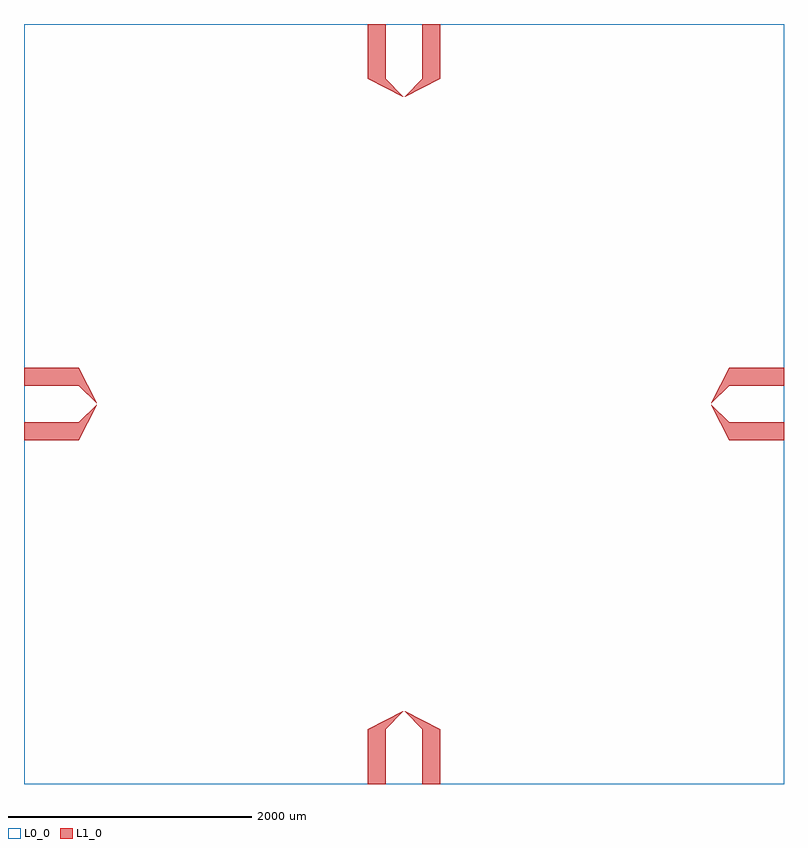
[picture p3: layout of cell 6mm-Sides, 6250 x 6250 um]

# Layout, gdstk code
from math import pi, radians
import gdstk
lib = gdstk.Library(unit=1e-6, precision=1e-09)
def R(c, l, rs):  # rectangles x0, y0, x1, y1
    for r in rs: c.add(gdstk.rectangle(r[:2], r[2:], *l))
def P(c, l, *ps):  # polygons
    for p in ps: c.add(gdstk.Polygon(p, *l))
L0_0 = (0, 0)
L1_0 = (1, 0)

flushlauncher = lib.new_cell('FlushLauncher')
P(flushlauncher, L1_0, [(-300,-300),(-300,150),(-11,300),(-5,300),(-150,150),(-150,-300)],
  [(150,-300),(150,150),(5,300),(11,300),(300,150),(300,-300)])

c_6mm_sides = lib.new_cell('6mm-Sides')
R(c_6mm_sides, L0_0, [(-3125,-3125,3125,3125)])
c_6mm_sides.add(gdstk.Reference(flushlauncher, (0,-2825)))
c_6mm_sides.add(gdstk.Reference(flushlauncher, (2825,0), rotation=pi/2))
c_6mm_sides.add(gdstk.Reference(flushlauncher, (0,2825), rotation=pi))
c_6mm_sides.add(gdstk.Reference(flushlauncher, (-2825,0), rotation=3*pi/2))

lib.write_gds('6mm-Sides.gds')
